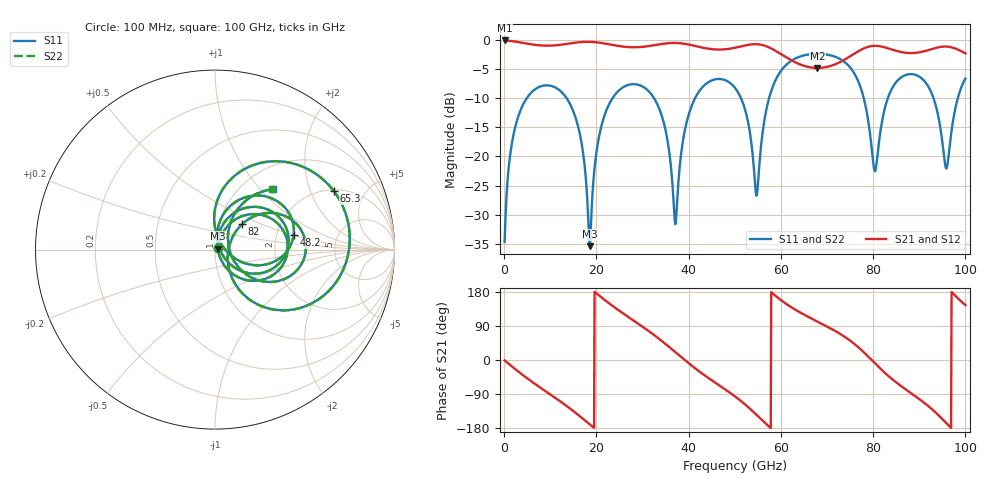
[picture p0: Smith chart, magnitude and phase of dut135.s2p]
! Touchstone file exported from HFSS 2026.1.0
!  File:  C:/ffzhzh/LocalFiles/Ansys_Project_Files/temp_train_TSV_RDL_135_1783640904_26216.aedt
!  Generated:  07:55:50 AM Jul 10, 2026
!  Design:  TSV_RDL
!  Project:  temp_train_TSV_RDL_135_1783640904_26216
! Variables:
!  h_bsmrdl = 2.41um
!  h_ox = 20um
!  h_rdl = 5um
!  h_sub = 83.21um
!  h_tmrdl = 3.32um
!  h_tsv = 83.21um
!  h_via = 3um
!  l_bsmrdl = 201.37um
!  l_sub = 2858.23um
!  l_tmrdl = 436.83um
!  m_sub = 200um
!  pitch = 40.01um
!  r_tsv = 10.79um
!  s_tmrdl = 10um
!  w_bsmrdl = 16.32um
!  w_sub = 500um
!  w_tmrdl = 19.28um
!  x_tsv_center1 = 446.47um
!  x_tsv_center2 = 664.16um
!  x_tsv_center3 = 1120.27um
!  x_tsv_center4 = 1337.96um
!  x_tsv_center5 = 1794.07um
!  x_tsv_center6 = 2011.76um
# GHz S MA R 50.000000
! Terminal data exported
! Port[1] = TM_RDL1_1_T1
! Port[2] = TM_RDL5_1_T1
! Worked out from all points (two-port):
!   1000 points, 100 MHz to 100 GHz, reference 50 ohm
!   highest |S21| = -0.14 dB at 100 MHz (marker M1); lowest = -4.8 dB at 67.9 GHz (marker M2)
!   |S21| within 3 dB of the highest: start of sweep to 61.38 GHz; 74.41 GHz to end of sweep
!   lowest |S11| = -35.3 dB at 18.6 GHz (marker M3), VSWR 1.03, Z = 51.6 + j0.609 ohm
!   |S11| at or under -10 dB: 13.52 GHz to 23.52 GHz (9.995 GHz wide, 54 % of centre); 32.48 GHz to 41.41 GHz (8.931 GHz wide, 24.2 % of centre); 51.34 GHz to 57.45 GHz (6.109 GHz wide, 11.2 % of centre) (the widest 3 of 6)
!   |S22| runs from -35.8 to -2.4 dB; largest |S21 - S12| = 9.1e-14
!   S11 on the Smith chart (normalised r, x): 100 MHz: 1.03, +0.02; 48.2 GHz: 2.49, +0.50; 65.3 GHz: 2.06, +2.95; 82 GHz: 1.29, +0.38; 100 GHz: 1.37, +1.17
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0.1  0.01853 27.0  0.9836 -1.1  0.9836 -1.1  0.01853 27.0
! Gamma 0 0 0 0
! Port Impedance 50 0 50 0
5.8  0.3495 30.9  0.9125 -55.4  0.9125 -55.4  0.3495 30.9
16.8  0.129 -57.5  0.9533 -152.2  0.9533 -152.2  0.129 -57.9
18.6  0.01708 20.2  0.9572 -170.2  0.9572 -170.2  0.01625 20.5
23.2  0.3017 51.4  0.9046 145.5  0.9046 145.5  0.3017 51.5
33.4  0.2691 -29.8  0.9077 57.6  0.9077 57.6  0.2693 -29.7
37.1  0.02632 16.3  0.9365 20.8  0.9365 20.8  0.02635 15.7
40.7  0.274 68.7  0.8952 -15.4  0.8952 -15.4  0.2738 68.7
48.2  0.445 10.4  0.8289 -79.9  0.8289 -79.9  0.4448 10.3
50.1  0.3843 -4.4  0.8532 -96.6  0.8532 -96.6  0.3842 -4.4
54.7  0.04626 30.6  0.9133 -144.4  0.9133 -144.4  0.04598 30.6
58.2  0.392 78.2  0.8285 175.9  0.8285 175.9  0.3919 78.2
65.3  0.7379 26.3  0.5921 117.9  0.5921 117.9  0.7378 26.3
66.7  0.7526 18.1  0.5767 109.0  0.5767 109.0  0.7526 18.1
67.9  0.7566 11.3  0.5723 101.6  0.5723 101.6  0.7566 11.2
75.9  0.5147 -41.0  0.7575 42.7  0.7575 42.7  0.5146 -41.1
80.3  0.07535 -14.8  0.8849 -7.7  0.8849 -7.7  0.07427 -14.9
82  0.207 43.1  0.8692 -27.9  0.8692 -27.9  0.2067 43.3
83.4  0.3327 37.0  0.8385 -43.2  0.8385 -43.2  0.3326 37.1
91.2  0.4378 -20.3  0.7977 -114.2  0.7977 -114.2  0.438 -20.4
95.9  0.0789 14.4  0.872 -166.8  0.872 -166.8  0.07724 14.2
100  0.4644 46.3  0.7628 144.8  0.7628 144.8  0.4639 46.6
